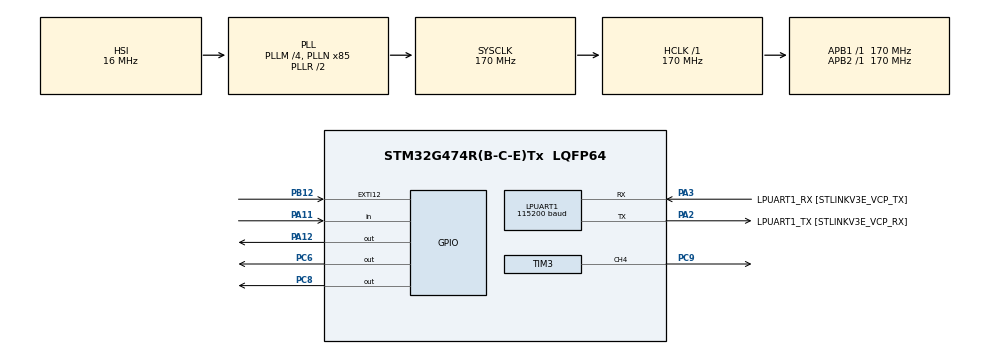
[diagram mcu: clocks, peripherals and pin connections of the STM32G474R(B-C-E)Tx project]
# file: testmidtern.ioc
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LPUART1.BaudRate=115200
Mcu.Family=STM32G4
Mcu.Name=STM32G474R(B-C-E)Tx
Mcu.Package=LQFP64
NVIC.EXTI15_10_IRQn=true\:1\:0\:true\:false\:true\:true\:true\:true
NVIC.LPUART1_IRQn=true\:0\:0\:false\:false\:true\:true\:true\:true
NVIC.PriorityGroup=NVIC_PRIORITYGROUP_4
NVIC.TIM3_IRQn=true\:0\:0\:false\:false\:true\:true\:true\:true
PA11.GPIO_PuPd=GPIO_PULLUP
PA11.Signal=GPIO_Input
PA12.Signal=GPIO_Output
PA13.GPIO_Label=T_SWDIO
PA13.Mode=Serial_Wire
PA13.Signal=SYS_JTMS-SWDIO
PA14.GPIO_Label=T_SWCLK
PA14.Mode=Serial_Wire
PA14.Signal=SYS_JTCK-SWCLK
PA2.GPIO_Label=LPUART1_TX [STLINKV3E_VCP_RX]
PA2.Mode=Asynchronous
PA2.Signal=LPUART1_TX
PA3.GPIO_Label=LPUART1_RX [STLINKV3E_VCP_TX]
PA3.Mode=Asynchronous
PA3.Signal=LPUART1_RX
PB12.GPIO_PuPd=GPIO_PULLUP
PB12.Signal=GPXTI12
PB3.GPIO_Label=T_SWO
PB3.Signal=SYS_JTDO-SWO
PC14-OSC32_IN.GPIO_Label=RCC_OSC32_IN
PC14-OSC32_IN.Signal=RCC_OSC32_IN
PC15-OSC32_OUT.GPIO_Label=RCC_OSC32_OUT
PC15-OSC32_OUT.Signal=RCC_OSC32_OUT
PC6.Signal=GPIO_Output
PC8.Signal=GPIO_Output
PC9.Signal=S_TIM3_CH4
PF0-OSC_IN.GPIO_Label=RCC_OSC_IN
PF0-OSC_IN.Signal=RCC_OSC_IN
PF1-OSC_OUT.GPIO_Label=RCC_OSC_OUT
PF1-OSC_OUT.Signal=RCC_OSC_OUT
ProjectManager.HeapSize=0x200
ProjectManager.StackSize=0x400
ProjectManager.TargetToolchain=STM32CubeIDE
RCC.ADC12Freq_Value=170000000
RCC.ADC345Freq_Value=170000000
RCC.AHBFreq_Value=170000000
RCC.APB1Freq_Value=170000000
RCC.APB1TimFreq_Value=170000000
RCC.APB2Freq_Value=170000000
RCC.APB2TimFreq_Value=170000000
RCC.CortexFreq_Value=170000000
RCC.EXTERNAL_CLOCK_VALUE=12288000
RCC.HCLKFreq_Value=170000000
RCC.HSE_VALUE=24000000
RCC.HSI48_VALUE=48000000
RCC.HSI_VALUE=16000000
RCC.LSE_VALUE=32768
RCC.PLLM=RCC_PLLM_DIV4
RCC.PLLN=85
RCC.RTCClockSelection=RCC_RTCCLKSOURCE_LSE
RCC.SYSCLKFreq_VALUE=170000000
RCC.SYSCLKSource=RCC_SYSCLKSOURCE_PLLCLK
RCC.USBFreq_Value=170000000
RCC.VCOOutputFreq_Value=340000000
SH.S_TIM3_CH4.0=TIM3_CH4,PWM Generation4 CH4
TIM3.Channel-PWM\ Generation4\ CH4=TIM_CHANNEL_4
TIM3.PeriodNoDither=999
TIM3.Prescaler=83
TIM3.PulseNoDither_4=250
VP_SYS_VS_DBSignals.Mode=DisableDeadBatterySignals
VP_TIM3_VS_ClockSourceINT.Mode=Internal
board=NUCLEO-G474RE

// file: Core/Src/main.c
/* USER CODE BEGIN Header */
/* USER CODE END Header */
#include "main.h"

/* USER CODE BEGIN PTD */
typedef enum { ST_SET, ST_NORMAL, ST_WAITING, ST_SUCCESS, ST_LOCK } State_t;
/* USER CODE END PTD */

/* USER CODE BEGIN PD */
/* ---- 腳位 ---- */
#define LED_G_PORT      GPIOA
#define LED_G_PIN       GPIO_PIN_12
#define LED_Y_PORT      GPIOC
#define LED_Y_PIN       GPIO_PIN_6
#define LED_R_PORT      GPIOC
#define LED_R_PIN       GPIO_PIN_8
#define BTN_PORT        GPIOA
#define BTN_PIN         GPIO_PIN_11      /* 按下 = 低電位 (上拉) */

/* ---- 行為切換 ---- */
#define NORMAL_GREEN_BLINK  1   /* 1: 綠燈 1Hz 閃, 0: 恆亮 */
#define SET_GREEN_ON        0   /* 1: SET 狀態綠燈恆亮, 0: 全滅 */
#define NORMAL_WRONG_LOCKS  1   /* 1: NORMAL 直接輸入錯誤進 LOCK, 0: 維持 NORMAL */

/* ---- 時間 (ms) ---- */
#define WAIT_MS         5000u
#define LOCK_MS         30000u
#define SUCCESS_MS      3000u
#define G_BLINK_MS      500u    /* 1 Hz */
#define Y_BLINK_MS      100u    /* 5 Hz */
#define R_BLINK_MS      250u    /* 紅燈閃爍 2 Hz */
#define BREATH_MS       1500u   /* 一次呼吸週期, 3 秒 = 2 次 */
#define BTN_DEBOUNCE_MS 20u
#define EXTI_DEBOUNCE_MS 200u

#define PWM_ARR         999u
#define PW_MAX_LEN      16u
#define RX_BUF_SIZE     64u     /* 需為 256 的因數 */

/* ---- 訊息 ---- */
#define MSG_SET_PROMPT  "PLEASE SET THE PASSWORD\r\n"
#define MSG_SET_OK      "PASSWORD SET SUCCESSFULLY\r\n"
#define MSG_PROMPT      "PLEASE ENTER THE PASSWORD\r\n"
#define MSG_GRANTED     "ACCESS GRANTED - WELCOME AGENT!\r\n"
#define MSG_WAIT        "YOU HAVE 5 SECOND TO ENTER THE PASSWORD\r\n"
#define MSG_LOCK        "LOCK IN 30SEC - WRONG PASSWORD\r\n"
#define MSG_EMERGENCY   "EMERGENCY TRIGGERED! LOCK IN 30SEC\r\n"
#define MSG_TOO_LONG    "PASSWORD TOO LONG (MAX 16)\r\n"
/* USER CODE END PD */

UART_HandleTypeDef hlpuart1;

TIM_HandleTypeDef htim3;

/* USER CODE BEGIN PV */
static State_t  g_state = ST_SET;
static uint32_t g_state_t0 = 0;
static uint32_t g_blink_t0 = 0;

static uint8_t  g_pw[PW_MAX_LEN];
static uint8_t  g_pw_len = 0;            /* 0 = 尚未設定密碼 */
static uint8_t  g_in[PW_MAX_LEN];
static uint8_t  g_in_len = 0;
static uint8_t  g_in_over = 0;           /* 輸入超過長度 */

static volatile uint8_t  g_rx_buf[RX_BUF_SIZE];
static volatile uint8_t  g_rx_head = 0;
static volatile uint8_t  g_rx_tail = 0;
static uint8_t  g_rx_byte;

static volatile uint8_t  g_emergency = 0;
static volatile uint32_t g_exti_last = 0;
/* USER CODE END PV */

void SystemClock_Config(void);
static void MX_GPIO_Init(void);
static void MX_LPUART1_UART_Init(void);
static void MX_TIM3_Init(void);

/* USER CODE BEGIN 0 */

/* ================= UART 輸出 (不使用 string.h) ================= */
static void uart_puts(const char *s)
{
    uint16_t n = 0;
    while (s[n] != '\0') { n++; }
    HAL_UART_Transmit(&hlpuart1, (uint8_t *)s, n, 100);
}

static void uart_putc(uint8_t c)
{
    HAL_UART_Transmit(&hlpuart1, &c, 1, 10);
}

/* ================= UART 接收環形緩衝 ================= */
static uint8_t rx_pop(uint8_t *c)
{
    if (g_rx_head == g_rx_tail) { return 0; }
    *c = g_rx_buf[g_rx_tail];
    g_rx_tail = (uint8_t)((g_rx_tail + 1u) % RX_BUF_SIZE);
    return 1;
}

static void rx_flush(void)
{
    g_rx_tail = g_rx_head;
}

void HAL_UART_RxCpltCallback(UART_HandleTypeDef *huart)
{
    if (huart->Instance == LPUART1)
    {
        uint8_t next = (uint8_t)((g_rx_head + 1u) % RX_BUF_SIZE);
        if (next != g_rx_tail)
        {
            g_rx_buf[g_rx_head] = g_rx_byte;
            g_rx_head = next;
        }
        HAL_UART_Receive_IT(&hlpuart1, &g_rx_byte, 1);
    }
}

void HAL_UART_ErrorCallback(UART_HandleTypeDef *huart)
{
    if (huart->Instance == LPUART1)
    {
        HAL_UART_Receive_IT(&hlpuart1, &g_rx_byte, 1);   /* overrun 等錯誤後重新接收 */
    }
}

/* ================= PB12 緊急按鈕 (EXTI12) ================= */
static void emergency_isr(uint16_t GPIO_Pin)
{
    if (GPIO_Pin == GPIO_PIN_12)
    {
        uint32_t now = HAL_GetTick();
        if ((now - g_exti_last) >= EXTI_DEBOUNCE_MS)     /* 軟體去彈跳 */
        {
            g_exti_last = now;
            g_emergency = 1;                             /* 交給主迴圈處理, ISR 內不傳輸 */
        }
    }
}

/* 舊版 HAL 呼叫這個 */
void HAL_GPIO_EXTI_Callback(uint16_t GPIO_Pin)
{
    emergency_isr(GPIO_Pin);
}

/* 新版 HAL 呼叫這個 */
void HAL_GPIO_EXTI_Falling_Callback(uint16_t GPIO_Pin)
{
    emergency_isr(GPIO_Pin);
}

/* ================= PA11 按鈕 polling + 去彈跳 ================= */
static uint8_t btn_press_event(void)
{
    static GPIO_PinState last_raw = GPIO_PIN_SET;
    static GPIO_PinState stable   = GPIO_PIN_SET;
    static uint32_t t_change = 0;

    GPIO_PinState raw = HAL_GPIO_ReadPin(BTN_PORT, BTN_PIN);
    uint32_t now = HAL_GetTick();

    if (raw != last_raw)
    {
        last_raw = raw;
        t_change = now;
    }
    else if ((raw != stable) && ((now - t_change) >= BTN_DEBOUNCE_MS))
    {
        stable = raw;
        if (stable == GPIO_PIN_RESET) { return 1; }      /* 穩定的按下事件 */
    }
    return 0;
}

/* ================= LED ================= */
static void leds_off(void)
{
    HAL_GPIO_WritePin(LED_G_PORT, LED_G_PIN, GPIO_PIN_RESET);
    HAL_GPIO_WritePin(LED_Y_PORT, LED_Y_PIN, GPIO_PIN_RESET);
    HAL_GPIO_WritePin(LED_R_PORT, LED_R_PIN, GPIO_PIN_RESET);
    __HAL_TIM_SET_COMPARE(&htim3, TIM_CHANNEL_4, 0);
}

static void leds_update(void)
{
    uint32_t now = HAL_GetTick();

    switch (g_state)
    {
    case ST_NORMAL:
#if NORMAL_GREEN_BLINK
        if ((now - g_blink_t0) >= G_BLINK_MS)
        {
            g_blink_t0 = now;
            HAL_GPIO_TogglePin(LED_G_PORT, LED_G_PIN);
        }
#endif
        break;

    case ST_WAITING:
        if ((now - g_blink_t0) >= Y_BLINK_MS)
        {
            g_blink_t0 = now;
            HAL_GPIO_TogglePin(LED_Y_PORT, LED_Y_PIN);
        }
        break;

    case ST_LOCK:
        if ((now - g_blink_t0) >= R_BLINK_MS)
        {
            g_blink_t0 = now;
            HAL_GPIO_TogglePin(LED_R_PORT, LED_R_PIN);
        }
        break;

    case ST_SUCCESS:
    {
        /* 三角波 + 平方, 讓亮度變化看起來比較線性 */
        uint32_t half = BREATH_MS / 2u;
        uint32_t p    = (now - g_state_t0) % BREATH_MS;
        uint32_t tri  = (p < half) ? p : (BREATH_MS - p);
        uint32_t ccr  = (tri * tri * PWM_ARR) / (half * half);
        __HAL_TIM_SET_COMPARE(&htim3, TIM_CHANNEL_4, ccr);
        break;
    }

    default:
        break;
    }
}

/* ================= 狀態機 ================= */
static void enter_state(State_t s)
{
    g_state    = s;
    g_state_t0 = HAL_GetTick();
    g_blink_t0 = g_state_t0;
    g_in_len   = 0;
    g_in_over  = 0;
    rx_flush();
    leds_off();

    switch (s)
    {
    case ST_SET:
#if SET_GREEN_ON
        HAL_GPIO_WritePin(LED_G_PORT, LED_G_PIN, GPIO_PIN_SET);
#endif
        uart_puts(MSG_SET_PROMPT);           /* PLEASE SET THE PASSWORD */
        break;

    case ST_NORMAL:
        HAL_GPIO_WritePin(LED_G_PORT, LED_G_PIN, GPIO_PIN_SET);  /* 閃爍模式由亮開始 */
        uart_puts(MSG_PROMPT);               /* PLEASE ENTER THE PASSWORD */
        break;

    case ST_WAITING:
        HAL_GPIO_WritePin(LED_Y_PORT, LED_Y_PIN, GPIO_PIN_SET);
        uart_puts(MSG_WAIT);
        break;

    case ST_SUCCESS:
        /* 藍燈由 leds_update() 做呼吸 */
        uart_puts(MSG_GRANTED);
        break;

    case ST_LOCK:
        HAL_GPIO_WritePin(LED_R_PORT, LED_R_PIN, GPIO_PIN_SET);
        /* 訊息由 enter_lock() 依原因傳送 */
        break;
    }
}

/* 進入 LOCK 並傳送對應訊息 (錯誤/逾時 或 緊急按鈕) */
static void enter_lock(const char *msg)
{
    enter_state(ST_LOCK);
    uart_puts(msg);
}

static void back_to_idle(void)
{
    enter_state((g_pw_len == 0u) ? ST_SET : ST_NORMAL);
}

static uint8_t pw_match(void)
{
    uint8_t diff = 0;
    if (g_in_over || (g_in_len != g_pw_len)) { return 0; }
    for (uint8_t i = 0; i < g_pw_len; i++)
    {
        diff |= (uint8_t)(g_in[i] ^ g_pw[i]);
    }
    return (diff == 0u) ? 1 : 0;
}

static void input_submit(void)
{
    uart_puts("\r\n");

    if (g_state == ST_SET)
    {
        if (g_in_over)
        {
            uart_puts(MSG_TOO_LONG);
            g_in_len = 0;
            g_in_over = 0;
            uart_puts(MSG_SET_PROMPT);
            return;
        }
        for (uint8_t i = 0; i < g_in_len; i++) { g_pw[i] = g_in[i]; }
        g_pw_len = g_in_len;
        uart_puts(MSG_SET_OK);
        enter_state(ST_NORMAL);              /* 綠燈閃爍 + PLEASE ENTER THE PASSWORD */
        return;
    }

    /* ST_NORMAL / ST_WAITING */
    if (pw_match())
    {
        enter_state(ST_SUCCESS);             /* ACCESS GRANTED - WELCOME AGENT! */
    }
    else if ((g_state == ST_WAITING) || NORMAL_WRONG_LOCKS)
    {
        enter_lock(MSG_LOCK);
    }
    else
    {
        g_in_len = 0;
        g_in_over = 0;
    }
}

static void input_process(void)
{
    uint8_t c;
    while (rx_pop(&c))
    {
        if ((g_state == ST_LOCK) || (g_state == ST_SUCCESS))
        {
            rx_flush();                      /* 忽略所有輸入 */
            return;
        }

        if ((c == '\r') || (c == '\n'))
        {
            if ((g_in_len == 0u) && !g_in_over) { continue; }   /* 空輸入或 CRLF 的第二個字元 */
            input_submit();
        }
        else if ((c == 0x08) || (c == 0x7F))                    /* Backspace */
        {
            if (g_in_len > 0u)
            {
                g_in_len--;
                uart_puts("\b \b");
            }
        }
        else if ((c >= 0x20) && (c <= 0x7E))
        {
            if (g_in_len < PW_MAX_LEN) { g_in[g_in_len++] = c; }
            else                       { g_in_over = 1; }
            uart_putc('*');
        }
    }
}

/* USER CODE END 0 */

int main(void)
{

  /* MCU Configuration--------------------------------------------------------*/

  /* Reset of all peripherals, Initializes the Flash interface and the Systick. */
  HAL_Init();

  /* Configure the system clock */
  SystemClock_Config();

  /* Initialize all configured peripherals */
  MX_GPIO_Init();
  MX_LPUART1_UART_Init();
  MX_TIM3_Init();
  /* USER CODE BEGIN 2 */
  HAL_TIM_PWM_Start(&htim3, TIM_CHANNEL_4);
  HAL_UART_Receive_IT(&hlpuart1, &g_rx_byte, 1);
  enter_state(ST_SET);
  /* USER CODE END 2 */

  /* Infinite loop */
  while (1)
  {

    /* USER CODE BEGIN 3 */
    uint8_t pa11 = btn_press_event();        /* 每圈都呼叫, 維持去彈跳狀態 */

    /* PB12: 任何狀態都生效 (LOCK 中不重複觸發) */
    if (g_emergency)
    {
        g_emergency = 0;
        if (g_state != ST_LOCK) { enter_lock(MSG_EMERGENCY); }
    }

    uint32_t now = HAL_GetTick();            /* 放在 enter_state 之後, 避免時間倒退 */

    switch (g_state)
    {
    case ST_SET:
        input_process();
        break;

    case ST_NORMAL:
        if (pa11) { enter_state(ST_WAITING); }
        else      { input_process(); }
        break;

    case ST_WAITING:
        input_process();
        if ((g_state == ST_WAITING) && ((now - g_state_t0) >= WAIT_MS))
        {
            enter_lock(MSG_LOCK);            /* 5 秒逾時 */
        }
        break;

    case ST_SUCCESS:
        rx_flush();
        if ((now - g_state_t0) >= SUCCESS_MS) { back_to_idle(); }
        break;

    case ST_LOCK:
        rx_flush();
        if ((now - g_state_t0) >= LOCK_MS) { back_to_idle(); }
        break;
    }

    leds_update();
  }
  /* USER CODE END 3 */
}

void SystemClock_Config(void)
{
  RCC_OscInitTypeDef RCC_OscInitStruct = {0};
  RCC_ClkInitTypeDef RCC_ClkInitStruct = {0};

  /** Configure the main internal regulator output voltage
  */
  HAL_PWREx_ControlVoltageScaling(PWR_REGULATOR_VOLTAGE_SCALE1_BOOST);

  /** Initializes the RCC Oscillators according to the specified parameters
  * in the RCC_OscInitTypeDef structure.
  */
  RCC_OscInitStruct.OscillatorType = RCC_OSCILLATORTYPE_HSI;
  RCC_OscInitStruct.HSIState = RCC_HSI_ON;
  RCC_OscInitStruct.HSICalibrationValue = RCC_HSICALIBRATION_DEFAULT;
  RCC_OscInitStruct.PLL.PLLState = RCC_PLL_ON;
  RCC_OscInitStruct.PLL.PLLSource = RCC_PLLSOURCE_HSI;
  RCC_OscInitStruct.PLL.PLLM = RCC_PLLM_DIV4;
  RCC_OscInitStruct.PLL.PLLN = 85;
  RCC_OscInitStruct.PLL.PLLP = RCC_PLLP_DIV2;
  RCC_OscInitStruct.PLL.PLLQ = RCC_PLLQ_DIV2;
  RCC_OscInitStruct.PLL.PLLR = RCC_PLLR_DIV2;
  if (HAL_RCC_OscConfig(&RCC_OscInitStruct) != HAL_OK)
  {
    Error_Handler();
  }

  /** Initializes the CPU, AHB and APB buses clocks
  */
  RCC_ClkInitStruct.ClockType = RCC_CLOCKTYPE_HCLK|RCC_CLOCKTYPE_SYSCLK
                              |RCC_CLOCKTYPE_PCLK1|RCC_CLOCKTYPE_PCLK2;
  RCC_ClkInitStruct.SYSCLKSource = RCC_SYSCLKSOURCE_PLLCLK;
  RCC_ClkInitStruct.AHBCLKDivider = RCC_SYSCLK_DIV1;
  RCC_ClkInitStruct.APB1CLKDivider = RCC_HCLK_DIV1;
  RCC_ClkInitStruct.APB2CLKDivider = RCC_HCLK_DIV1;

  if (HAL_RCC_ClockConfig(&RCC_ClkInitStruct, FLASH_LATENCY_4) != HAL_OK)
  {
    Error_Handler();
  }
}

static void MX_LPUART1_UART_Init(void)
{

  hlpuart1.Instance = LPUART1;
  hlpuart1.Init.BaudRate = 115200;
  hlpuart1.Init.WordLength = UART_WORDLENGTH_8B;
  hlpuart1.Init.StopBits = UART_STOPBITS_1;
  hlpuart1.Init.Parity = UART_PARITY_NONE;
  hlpuart1.Init.Mode = UART_MODE_TX_RX;
  hlpuart1.Init.HwFlowCtl = UART_HWCONTROL_NONE;
  hlpuart1.Init.OneBitSampling = UART_ONE_BIT_SAMPLE_DISABLE;
  hlpuart1.Init.ClockPrescaler = UART_PRESCALER_DIV1;
  hlpuart1.AdvancedInit.AdvFeatureInit = UART_ADVFEATURE_NO_INIT;
  if (HAL_UART_Init(&hlpuart1) != HAL_OK)
  {
    Error_Handler();
  }
  if (HAL_UARTEx_SetTxFifoThreshold(&hlpuart1, UART_TXFIFO_THRESHOLD_1_8) != HAL_OK)
  {
    Error_Handler();
  }
  if (HAL_UARTEx_SetRxFifoThreshold(&hlpuart1, UART_RXFIFO_THRESHOLD_1_8) != HAL_OK)
  {
    Error_Handler();
  }
  if (HAL_UARTEx_DisableFifoMode(&hlpuart1) != HAL_OK)
  {
    Error_Handler();
  }

}

static void MX_TIM3_Init(void)
{

  TIM_ClockConfigTypeDef sClockSourceConfig = {0};
  TIM_MasterConfigTypeDef sMasterConfig = {0};
  TIM_OC_InitTypeDef sConfigOC = {0};

  htim3.Instance = TIM3;
  htim3.Init.Prescaler = 83;
  htim3.Init.CounterMode = TIM_COUNTERMODE_UP;
  htim3.Init.Period = 999;
  htim3.Init.ClockDivision = TIM_CLOCKDIVISION_DIV1;
  htim3.Init.AutoReloadPreload = TIM_AUTORELOAD_PRELOAD_DISABLE;
  if (HAL_TIM_Base_Init(&htim3) != HAL_OK)
  {
    Error_Handler();
  }
  sClockSourceConfig.ClockSource = TIM_CLOCKSOURCE_INTERNAL;
  if (HAL_TIM_ConfigClockSource(&htim3, &sClockSourceConfig) != HAL_OK)
  {
    Error_Handler();
  }
  if (HAL_TIM_PWM_Init(&htim3) != HAL_OK)
  {
    Error_Handler();
  }
  sMasterConfig.MasterOutputTrigger = TIM_TRGO_RESET;
  sMasterConfig.MasterSlaveMode = TIM_MASTERSLAVEMODE_DISABLE;
  if (HAL_TIMEx_MasterConfigSynchronization(&htim3, &sMasterConfig) != HAL_OK)
  {
    Error_Handler();
  }
  sConfigOC.OCMode = TIM_OCMODE_PWM1;
  sConfigOC.Pulse = 250;
  sConfigOC.OCPolarity = TIM_OCPOLARITY_HIGH;
  sConfigOC.OCFastMode = TIM_OCFAST_DISABLE;
  if (HAL_TIM_PWM_ConfigChannel(&htim3, &sConfigOC, TIM_CHANNEL_4) != HAL_OK)
  {
    Error_Handler();
  }
  HAL_TIM_MspPostInit(&htim3);

}

static void MX_GPIO_Init(void)
{
  GPIO_InitTypeDef GPIO_InitStruct = {0};

  /* GPIO Ports Clock Enable */
  __HAL_RCC_GPIOC_CLK_ENABLE();
  __HAL_RCC_GPIOF_CLK_ENABLE();
  __HAL_RCC_GPIOA_CLK_ENABLE();
  __HAL_RCC_GPIOB_CLK_ENABLE();

  /*Configure GPIO pin Output Level */
  HAL_GPIO_WritePin(GPIOC, GPIO_PIN_6|GPIO_PIN_8, GPIO_PIN_RESET);

  /*Configure GPIO pin Output Level */
  HAL_GPIO_WritePin(GPIOA, GPIO_PIN_12, GPIO_PIN_RESET);

  /*Configure GPIO pin : PB12 */
  GPIO_InitStruct.Pin = GPIO_PIN_12;
  GPIO_InitStruct.Mode = GPIO_MODE_IT_FALLING;      /* 原為 RISING, 上拉按鈕按下是下降沿 */
  GPIO_InitStruct.Pull = GPIO_PULLUP;
  HAL_GPIO_Init(GPIOB, &GPIO_InitStruct);

  /*Configure GPIO pins : PC6 PC8 */
  GPIO_InitStruct.Pin = GPIO_PIN_6|GPIO_PIN_8;
  GPIO_InitStruct.Mode = GPIO_MODE_OUTPUT_PP;
  GPIO_InitStruct.Pull = GPIO_NOPULL;
  GPIO_InitStruct.Speed = GPIO_SPEED_FREQ_LOW;
  HAL_GPIO_Init(GPIOC, &GPIO_InitStruct);

  /*Configure GPIO pin : PA11 */
  GPIO_InitStruct.Pin = GPIO_PIN_11;
  GPIO_InitStruct.Mode = GPIO_MODE_INPUT;
  GPIO_InitStruct.Pull = GPIO_PULLUP;
  HAL_GPIO_Init(GPIOA, &GPIO_InitStruct);

  /*Configure GPIO pin : PA12 */
  GPIO_InitStruct.Pin = GPIO_PIN_12;
  GPIO_InitStruct.Mode = GPIO_MODE_OUTPUT_PP;
  GPIO_InitStruct.Pull = GPIO_NOPULL;
  GPIO_InitStruct.Speed = GPIO_SPEED_FREQ_LOW;
  HAL_GPIO_Init(GPIOA, &GPIO_InitStruct);

  /* EXTI interrupt init*/
  HAL_NVIC_SetPriority(EXTI15_10_IRQn, 0, 0);       /* 原為 1, 依需求改為最高 */
  HAL_NVIC_EnableIRQ(EXTI15_10_IRQn);

}

void Error_Handler(void)
{
  __disable_irq();
  while (1)
  {
  }
}
